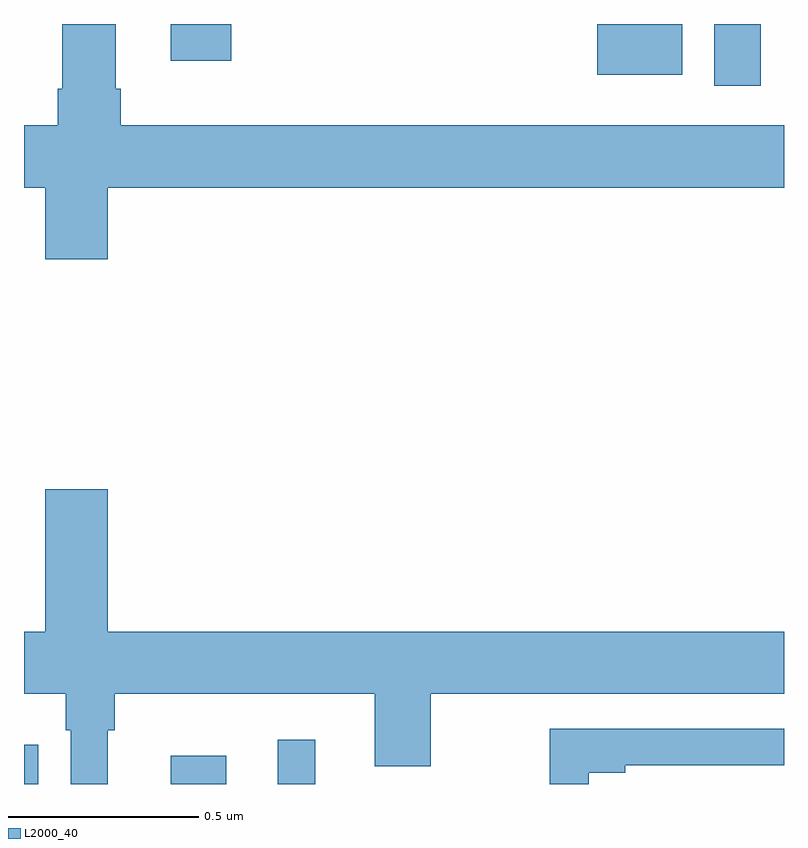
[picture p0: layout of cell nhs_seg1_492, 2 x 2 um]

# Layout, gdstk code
import gdstk
lib = gdstk.Library(unit=1e-6, precision=1e-09)
def R(c, l, rs):  # rectangles x0, y0, x1, y1
    for r in rs: c.add(gdstk.rectangle(r[:2], r[2:], *l))
def P(c, l, *ps):  # polygons
    for p in ps: c.add(gdstk.Polygon(p, *l))
L2000_40 = (2000, 40)

nhs_seg1_492 = lib.new_cell('nhs_seg1_492')
R(nhs_seg1_492, L2000_40, [(117,514.199,117.038,514.302), (117.386,514.199,117.532,514.273), (117.668,514.199,117.766,514.315), (118.817,516.036,118.939,516.199), (118.508,516.065,118.732,516.199), (117.386,516.102,117.545,516.199)])
P(nhs_seg1_492, L2000_40, [(117.22,515.768),(119,515.768),(119,515.932),(117.254,515.932),(117.254,516.028),(117.241,516.028),(117.241,516.199),(117.101,516.199),(117.101,516.028),(117.089,516.028),(117.089,515.932),(117,515.932),(117,515.768),(117.056,515.768),(117.056,515.58),(117.22,515.58)],
  [(117.22,514.34),(117.239,514.34),(117.239,514.436),(117.923,514.436),(117.923,514.246),(118.071,514.246),(118.071,514.436),(119,514.436),(119,514.6),(117.22,514.6),(117.22,514.975),(117.056,514.975),(117.056,514.6),(117,514.6),(117,514.436),(117.11,514.436),(117.11,514.34),(117.123,514.34),(117.123,514.199),(117.22,514.199)],
  [(118.486,514.228),(118.582,514.228),(118.582,514.248),(119,514.248),(119,514.344),(118.384,514.344),(118.384,514.199),(118.486,514.199)])

lib.write_gds('nhs_seg1_492.gds')
